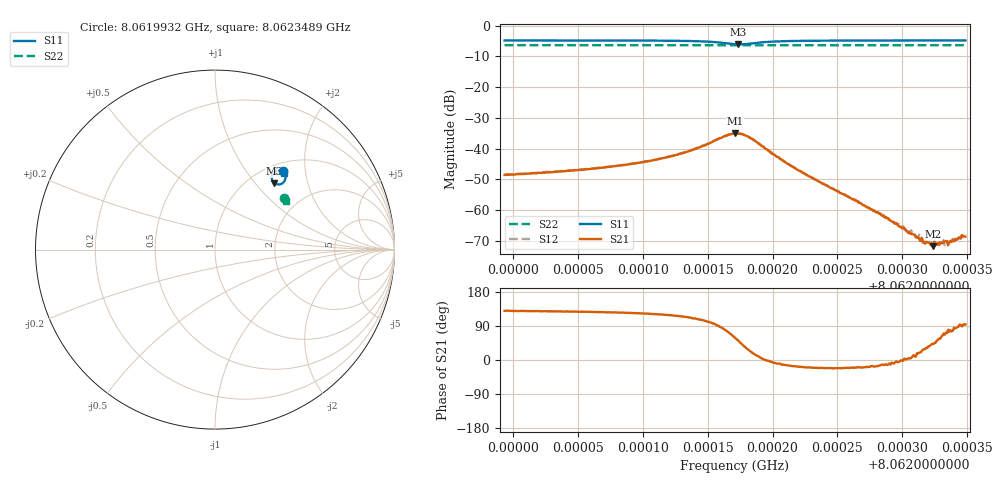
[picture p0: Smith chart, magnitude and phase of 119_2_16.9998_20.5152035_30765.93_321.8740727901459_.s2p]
#  HZ  S  RI  R  50.00
! Rohde & Schwarz Vector Network Analyzer
! Rohde-Schwarz,ZNB20-2Port,1311601062101988,3.16
! Created: UTC 3/20/2024, 10:57:22 PM
! freq[Hz]  re:S11  im:S11  re:S21  im:S21  re:S12  im:S12  re:S22  im:S22
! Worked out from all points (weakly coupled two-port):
!   401 points, 8.0619932 GHz to 8.0623489 GHz, reference 50 ohm
!   highest |S21| = -35.07 dB at 8.062171 GHz (marker M1); lowest = -71.8 dB at 8.062324 GHz (marker M2)
!   lowest |S11| = -6.1 dB at 8.0621737 GHz (marker M3), VSWR 2.98, Z = 64.4 + j63.4 ohm
!   |S11| at or under -10 dB: nowhere
!   |S22| runs from -6.4 to -6.3 dB; largest |S21 - S12| = 0.0013
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8.06199318e9  0.3761 0.4357  -0.00238 0.00285  -0.00225 0.00301  0.3865 0.2898
8.06205275e9  0.3817 0.4299  -0.00276 0.00359  -0.00252 0.00382  0.3885 0.2869
8.06208654e9  0.3858 0.4246  -0.00308 0.00448  -0.00287 0.0047  0.3899 0.2849
8.06211233e9  0.3895 0.4176  -0.00341 0.0058  -0.0031 0.00606  0.3905 0.2834
8.062139e9  0.3928 0.4017  -0.00321 0.00904  -0.00284 0.00932  0.3914 0.2814
8.06216301e9  0.3712 0.3669  0.00274 0.0156  0.00369 0.0156  0.3907 0.2793
8.06217102e9  0.3418 0.3651  0.0091 0.0151  0.0102 0.0145  0.3895 0.2792
8.06217368e9  0.3313 0.3704  0.011 0.0135  0.0121 0.0128  0.3894 0.2796
8.06218346e9  0.3158 0.4055  0.0135 0.00531  0.014 0.00442  0.3896 0.2808
8.06220836e9  0.347 0.4395  0.0061 -0.00133  0.00608 -0.00171  0.392 0.2807
8.06223059e9  0.3619 0.4395  0.00312 -0.00115  0.00308 -0.00137  0.3935 0.2793
8.06226527e9  0.3724 0.4358  0.00131 -0.000459  0.00129 -0.000519  0.3949 0.2775
8.06229017e9  0.3768 0.4337  0.000682 -0.000108  0.000687 -0.000163  0.396 0.2763
8.06231151e9  0.3795 0.4318  0.000334 0.00011  0.000344 7.76e-05  0.3966 0.275
8.06231596e9  0.38 0.4316  0.000278 0.00014  0.000269 0.000108  0.3968 0.2748
8.0623204e9  0.3806 0.4312  0.000239 0.000173  0.000249 0.000179  0.3969 0.2745
8.06232396e9  0.3811 0.431  0.000191 0.000173  0.000192 0.000208  0.3969 0.2743
8.06232929e9  0.3815 0.4307  0.000156 0.00023  0.000186 0.000239  0.3972 0.274
8.06233285e9  0.382 0.4303  0.00012 0.000279  0.000131 0.000233  0.3973 0.2739
8.06233641e9  0.3823 0.4301  7.84e-05 0.000287  8.56e-05 0.000296  0.3975 0.2737
8.0623453e9  0.3832 0.4294  -1.49e-05 0.000342  4.01e-05 0.000368  0.3978 0.2733
8.06234886e9  0.3835 0.4291  -2.42e-05 0.000367  1.73e-05 0.000386  0.3978 0.2732
